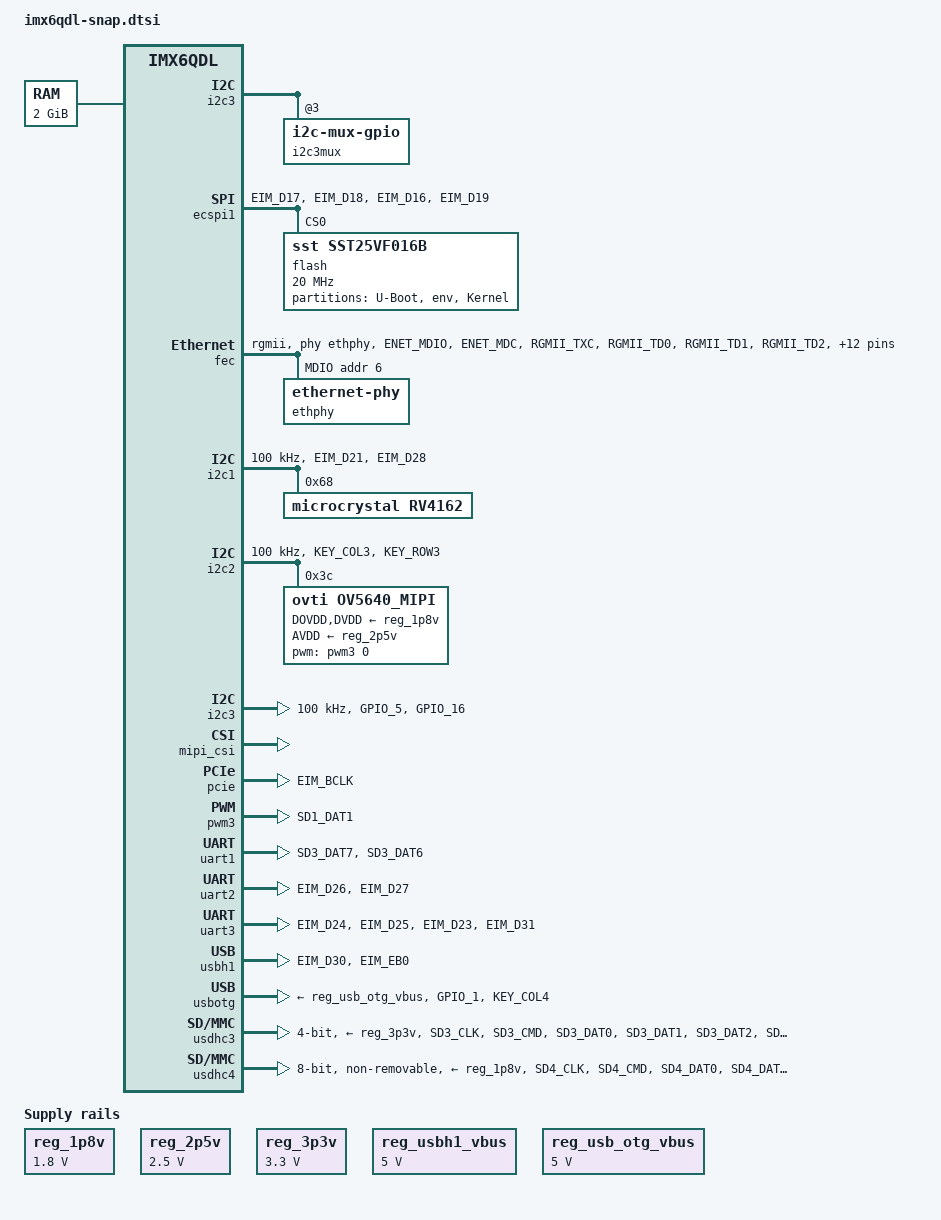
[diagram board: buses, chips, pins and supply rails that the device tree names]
/*
 * Copyright 2014 Boundary Devices
 * Copyright 2012 Freescale Semiconductor, Inc.
 * Copyright 2011 Linaro Ltd.
 *
 * The code contained herein is licensed under the GNU General Public
 * License. You may obtain a copy of the GNU General Public License
 * Version 2 or later at the following locations:
 *
 * http://www.opensource.org/licenses/gpl-license.html
 * http://www.gnu.org/copyleft/gpl.html
 */
#include <dt-bindings/gpio/gpio.h>
#include <dt-bindings/input/input.h>

/ {
	aliases {
		mmc0 = &usdhc3;
		mmc1 = &usdhc4;
	};

	gpio_keys: gpio-keys {
		compatible = "gpio-keys";
	};

	i2c3mux: i2cmux@3 {
		compatible = "i2c-mux-gpio";
	};

	memory {
		reg = <0x10000000 0x80000000>;
	};

	regulators {
		compatible = "simple-bus";

		reg_1p8v: 1p8v {
			compatible = "regulator-fixed";
			regulator-name = "1P8V";
			regulator-min-microvolt = <1800000>;
			regulator-max-microvolt = <1800000>;
			regulator-always-on;
		};

		reg_2p5v: 2p5v {
			compatible = "regulator-fixed";
			regulator-name = "2P5V";
			regulator-min-microvolt = <2500000>;
			regulator-max-microvolt = <2500000>;
			regulator-always-on;
		};

		reg_3p3v: 3p3v {
			compatible = "regulator-fixed";
			regulator-name = "3P3V";
			regulator-min-microvolt = <3300000>;
			regulator-max-microvolt = <3300000>;
			regulator-always-on;
		};

		reg_usbh1_vbus: usbh1_vbus {
			compatible = "regulator-fixed";
			regulator-name = "usbh1_vbus";
			regulator-min-microvolt = <5000000>;
			regulator-max-microvolt = <5000000>;
		};

		reg_usb_otg_vbus: usb_otg_vbus {
			compatible = "regulator-fixed";
			regulator-name = "usb_otg_vbus";
			regulator-min-microvolt = <5000000>;
			regulator-max-microvolt = <5000000>;
		};
	};

	v4l2_cap_0 {
		compatible = "fsl,imx6q-v4l2-capture";
		ipu_id = <0>;
		csi_id = <0>;
		mipi_camera = <1>;
		mclk_source = <0>;
		status = "okay";
	};
};

&iomuxc {
	pinctrl-names = "default";
	pinctrl-0 = <&pinctrl_hog_1>;
        iomuxc_imx6q_snap: iomuxc-imx6q-snapgrp {
                status = "okay";
        };
};

&iomuxc_imx6q_snap {
	pinctrl_hog_1: hoggrp {
		fsl,pins = <
			MX6QDL_PAD_SD2_DAT0__GPIO1_IO15		0x1b0b0
			MX6QDL_PAD_SD2_DAT1__GPIO1_IO14		0x1b0b0
			MX6QDL_PAD_SD2_DAT2__GPIO1_IO13		0x1b0b0
			MX6QDL_PAD_SD2_DAT3__GPIO1_IO12		0x1b0b0
			MX6QDL_PAD_SD2_CMD__GPIO1_IO11		0x1b0b0
			MX6QDL_PAD_SD1_CMD__GPIO1_IO18		0x1b0b0

			/* spares on DB */
			MX6QDL_PAD_DISP0_DAT0__GPIO4_IO21	0x1b0b0
			MX6QDL_PAD_DISP0_DAT1__GPIO4_IO22	0x1b0b0
			MX6QDL_PAD_DISP0_DAT2__GPIO4_IO23	0x1b0b0
			MX6QDL_PAD_DISP0_DAT3__GPIO4_IO24	0x1b0b0
			MX6QDL_PAD_DISP0_DAT4__GPIO4_IO25	0x1b0b0
			MX6QDL_PAD_DISP0_DAT5__GPIO4_IO26	0x1b0b0
			MX6QDL_PAD_GPIO_19__GPIO4_IO05		0x1b0b0
			MX6QDL_PAD_GPIO_0__GPIO1_IO00		0x1b0b0
			MX6QDL_PAD_SD1_CLK__GPIO1_IO20		0x1b0b0
			MX6QDL_PAD_SD2_CLK__GPIO1_IO10		0x1b0b0
			MX6QDL_PAD_SD1_DAT3__GPIO1_IO21		0x1b0b0
		>;
	};

	pinctrl_ecspi1: ecspi1grp {
		fsl,pins = <
			MX6QDL_PAD_EIM_D17__ECSPI1_MISO		0x100b1
			MX6QDL_PAD_EIM_D18__ECSPI1_MOSI		0x100b1
			MX6QDL_PAD_EIM_D16__ECSPI1_SCLK		0x100b1
#define GP_ECSPI1_NOR_CS		<&gpio3 19 GPIO_ACTIVE_LOW>
			MX6QDL_PAD_EIM_D19__GPIO3_IO19		0x000b1
		>;
	};

	pinctrl_enet: enetgrp {
		fsl,pins = <
			MX6QDL_PAD_ENET_MDIO__ENET_MDIO		0x1b0b0
			MX6QDL_PAD_ENET_MDC__ENET_MDC		0x1b0b0
			MX6QDL_PAD_RGMII_TXC__RGMII_TXC		0x100b0
			MX6QDL_PAD_RGMII_TD0__RGMII_TD0		0x100b0
			MX6QDL_PAD_RGMII_TD1__RGMII_TD1		0x100b0
			MX6QDL_PAD_RGMII_TD2__RGMII_TD2		0x100b0
			MX6QDL_PAD_RGMII_TD3__RGMII_TD3		0x100b0
			MX6QDL_PAD_RGMII_TX_CTL__RGMII_TX_CTL	0x100b0
			MX6QDL_PAD_ENET_REF_CLK__ENET_TX_CLK	0x100b0
			MX6QDL_PAD_RGMII_RXC__RGMII_RXC		0x1b0b0
			MX6QDL_PAD_RGMII_RD0__RGMII_RD0		0x1b0b0
			MX6QDL_PAD_RGMII_RD1__RGMII_RD1		0x1b0b0
			MX6QDL_PAD_RGMII_RD2__RGMII_RD2		0x1b0b0
			MX6QDL_PAD_RGMII_RD3__RGMII_RD3		0x1b0b0
			MX6QDL_PAD_RGMII_RX_CTL__RGMII_RX_CTL	0x1b0b0
#define GP_ENET_PHY_RESET		<&gpio1 27 GPIO_ACTIVE_LOW>
			MX6QDL_PAD_ENET_RXD0__GPIO1_IO27	0x030b0
#define GPIRQ_ENET_PHY			<&gpio1 28 IRQ_TYPE_LEVEL_LOW>
			MX6QDL_PAD_ENET_TX_EN__GPIO1_IO28	0x1b0b0
#define GPIRQ_ENET		<&gpio1 6 IRQ_TYPE_LEVEL_HIGH>
			MX6QDL_PAD_GPIO_6__ENET_IRQ		0x000b1
		>;
	};

	pinctrl_i2c1: i2c1grp {
		fsl,pins = <
			MX6QDL_PAD_EIM_D21__I2C1_SCL		0x4001b8b1
			MX6QDL_PAD_EIM_D28__I2C1_SDA		0x4001b8b1
		>;
	};

	pinctrl_i2c2: i2c2grp {
		fsl,pins = <
			MX6QDL_PAD_KEY_COL3__I2C2_SCL		0x4001b8b1
			MX6QDL_PAD_KEY_ROW3__I2C2_SDA		0x4001b8b1
		>;
	};

	pinctrl_i2c3: i2c3grp {
		fsl,pins = <
			MX6QDL_PAD_GPIO_5__I2C3_SCL		0x4001b8b1
			MX6QDL_PAD_GPIO_16__I2C3_SDA		0x4001b8b1
		>;
	};

	pinctrl_i2c3mux: i2c3muxgrp {
		fsl,pins = <
#define GP_I2C3_EN_SATA			<&gpio3 0 GPIO_ACTIVE_HIGH>
			MX6QDL_PAD_EIM_DA0__GPIO3_IO00		0x000b0
		>;
	};

	pinctrl_pcie: pciegrp {
		fsl,pins = <
#define GP_PCIE_RESET			<&gpio6 31 GPIO_ACTIVE_LOW>
			MX6QDL_PAD_EIM_BCLK__GPIO6_IO31		0x0b0b0
		>;
	};

	pinctrl_ov5640_mipi: ov5640_mipigrp {
		fsl,pins = <
#define GP_OV5640_MIPI_RESET		<&gpio6 5 GPIO_ACTIVE_LOW>
			MX6QDL_PAD_CSI0_DAT19__GPIO6_IO05	0x000b0
#define GP_OV5640_MIPI_POWER_DOWN	<&gpio6 4 GPIO_ACTIVE_LOW>
			MX6QDL_PAD_CSI0_DAT18__GPIO6_IO04	0x0b0b0
			MX6QDL_PAD_GPIO_3__CCM_CLKO2		0x000b0		/* XCLK */
		>;
	};

	pinctrl_pwm3: pwm3grp {
		fsl,pins = <
			MX6QDL_PAD_SD1_DAT1__PWM3_OUT		0x1b0b1
		>;
	};

	pinctrl_rv4162: rv4162grp {
		fsl,pins = <
#define GPIRQ_RTC_RV4162		<&gpio4 6 IRQ_TYPE_LEVEL_LOW>
			MX6QDL_PAD_KEY_COL0__GPIO4_IO06		0x1b0b0
		>;
	};

	pinctrl_sata: satagrp {
		fsl,pins = <
#define GP_HD_DETECT			<&gpio2 30 GPIO_ACTIVE_HIGH>
			MX6QDL_PAD_EIM_EB2__GPIO2_IO30		0x1b0b0
		>;
	};

	pinctrl_uart1: uart1grp {
		fsl,pins = <
			MX6QDL_PAD_SD3_DAT7__UART1_TX_DATA	0x1b0b1
			MX6QDL_PAD_SD3_DAT6__UART1_RX_DATA	0x1b0b1
		>;
	};

	pinctrl_uart2: uart2grp {
		fsl,pins = <
			MX6QDL_PAD_EIM_D26__UART2_TX_DATA	0x1b0b1
			MX6QDL_PAD_EIM_D27__UART2_RX_DATA	0x1b0b1
		>;
	};

	pinctrl_uart3: uart3grp {
		fsl,pins = <
			MX6QDL_PAD_EIM_D24__UART3_TX_DATA	0x0b0b1
			MX6QDL_PAD_EIM_D25__UART3_RX_DATA	0x1b0b1
			MX6QDL_PAD_EIM_D23__UART3_CTS_B		0x0b0b1
			MX6QDL_PAD_EIM_D31__UART3_RTS_B		0x1b0b1
		>;
	};

	pinctrl_usbh1: usbh1grp {
		fsl,pins = <
			MX6QDL_PAD_EIM_D30__USB_H1_OC		0x1b0b0
#define GP_USBH1_HUB_RESET	<&gpio2 28 GPIO_ACTIVE_LOW>
			MX6QDL_PAD_EIM_EB0__GPIO2_IO28          0x030b0
		>;
	};

	pinctrl_usbotg: usbotggrp {
		fsl,pins = <
			MX6QDL_PAD_GPIO_1__USB_OTG_ID		0x17059
			MX6QDL_PAD_KEY_COL4__USB_OTG_OC		0x1b0b0
		>;
	};

	pinctrl_usbotg_vbus: usbotg_vbusgrp {
		fsl,pins = <
#define GP_USB_OTG_PWR			<&gpio3 22 GPIO_ACTIVE_HIGH>
			MX6QDL_PAD_EIM_D22__GPIO3_IO22          0x030b0
		>;
	};

	pinctrl_usdhc3_50mhz: usdhc3_50mhzgrp {
		fsl,pins = <
			MX6QDL_PAD_SD3_CLK__SD3_CLK		0x10031
			MX6QDL_PAD_SD3_CMD__SD3_CMD		0x17031
			MX6QDL_PAD_SD3_DAT0__SD3_DATA0		0x17031
			MX6QDL_PAD_SD3_DAT1__SD3_DATA1		0x17031
			MX6QDL_PAD_SD3_DAT2__SD3_DATA2		0x17031
			MX6QDL_PAD_SD3_DAT3__SD3_DATA3		0x17031
#define GP_SD3_CD			<&gpio7 0 GPIO_ACTIVE_HIGH>
			MX6QDL_PAD_SD3_DAT5__GPIO7_IO00		0x1b0b0
		>;
	};

	pinctrl_usdhc4_50mhz: usdhc4_50mhzgrp {
		fsl,pins = <
			MX6QDL_PAD_SD4_CLK__SD4_CLK		0x10031
			MX6QDL_PAD_SD4_CMD__SD4_CMD		0x17031
			MX6QDL_PAD_SD4_DAT0__SD4_DATA0		0x17031
			MX6QDL_PAD_SD4_DAT1__SD4_DATA1		0x17031
			MX6QDL_PAD_SD4_DAT2__SD4_DATA2		0x17031
			MX6QDL_PAD_SD4_DAT3__SD4_DATA3		0x17031
			MX6QDL_PAD_SD4_DAT4__SD4_DATA4		0x17031
			MX6QDL_PAD_SD4_DAT5__SD4_DATA5		0x17031
			MX6QDL_PAD_SD4_DAT6__SD4_DATA6		0x17031
			MX6QDL_PAD_SD4_DAT7__SD4_DATA7		0x17031
#define GP_EMMC_RESET	<&gpio2 6 GPIO_ACTIVE_LOW>
			MX6QDL_PAD_NANDF_D6__GPIO2_IO06		0x1b0b0
		>;
	};
};

&ecspi1 {
	fsl,spi-num-chipselects = <1>;
	cs-gpios = GP_ECSPI1_NOR_CS;
	pinctrl-names = "default";
	pinctrl-0 = <&pinctrl_ecspi1>;
	status = "okay";

	flash: m25p80@0 {
		compatible = "sst,sst25vf016b";
		spi-max-frequency = <20000000>;
		reg = <0>;
		#address-cells = <1>;
		#size-cells = <1>;
		partition@0 {
			label = "U-Boot";
			reg = <0x0 0xC0000>;
			read-only;
		};
		partition@C0000 {
			label = "env";
			reg = <0xC0000 0x2000>;
			read-only;
		};
		partition@C2000 {
			label = "Kernel";
			reg = <0xC2000 0x13e000>;
		};
	};
};

&fec {
	interrupts-extended = GPIRQ_ENET,
			      <&gpc 0 119 IRQ_TYPE_LEVEL_HIGH>;
	phy-handle = <&ethphy>;
	phy-mode = "rgmii";
#if 0
	phy-reset-gpios = GP_ENET_PHY_RESET;
#endif
	pinctrl-names = "default";
	pinctrl-0 = <&pinctrl_enet>;
	status = "okay";

	mdio {
		#address-cells = <0>;
		#size-cells = <1>;

		ethphy: ethernet-phy@6 {
			reg = <6>;
			interrupts-extended = GPIRQ_ENET_PHY;
		};
	};
};

&i2c1 {
	clock-frequency = <100000>;
	pinctrl-names = "default";
	pinctrl-0 = <&pinctrl_i2c1>;
	status = "okay";

	rv4162@68 {
		compatible = "microcrystal,rv4162";
		pinctrl-names = "default";
		pinctrl-0 = <&pinctrl_rv4162>;
		reg = <0x68>;
		interrupts-extended = GPIRQ_RTC_RV4162;
	};
};

&i2c2 {
	clock-frequency = <100000>;
	pinctrl-names = "default";
	pinctrl-0 = <&pinctrl_i2c2>;
	status = "okay";

	ov5640_mipi: ov5640_mipi@3c {
		compatible = "ovti,ov5640_mipi";
		reg = <0x3c>;
		pinctrl-names = "default";
		pinctrl-0 = <&pinctrl_ov5640_mipi>;
		clocks = <&clks IMX6QDL_CLK_CKO2>;
		clock-names = "csi_mclk";
		DOVDD-supply = <&reg_1p8v>;
		AVDD-supply = <&reg_2p5v>;
		DVDD-supply = <&reg_1p8v>;
		pwn-gpios = GP_OV5640_MIPI_POWER_DOWN;
		rst-gpios = GP_OV5640_MIPI_RESET;
		ipu_id = <0>;
		csi_id = <0>;
		mclk = <22000000>;
		mclk_source = <0>;
		pwms = <&pwm3 0 45>;
	};
};

&i2c3 {
        clock-frequency = <100000>;
        pinctrl-names = "default";
        pinctrl-0 = <&pinctrl_i2c3>;
        status = "okay";

};

&i2c3mux {
	pinctrl-names = "default";
	pinctrl-0 = <&pinctrl_i2c3mux>;
	#address-cells = <1>;
	#size-cells = <0>;

	mux-gpios = GP_I2C3_EN_SATA;

	i2c-parent = <&i2c3>;
	idle-state = <0>;

	i2c3a: i2c3@1 {
		reg = <1>;
		#address-cells = <1>;
		#size-cells = <0>;
	};
};

&mipi_csi {
	ipu_id = <0>;
	csi_id = <1>;
	v_channel = <0>;
	lanes = <2>;
	status = "okay";
};

&pcie {
	pinctrl-names = "default";
	pinctrl-0 = <&pinctrl_pcie>;
	reset-gpios = GP_PCIE_RESET;
	status = "okay";
};

&pwm3 {
	pinctrl-names = "default";
	pinctrl-0 = <&pinctrl_pwm3>;
	status = "okay";
};

&reg_usb_otg_vbus {
	pinctrl-names = "default";
	pinctrl-0 = <&pinctrl_usbotg_vbus>;
	gpio = GP_USB_OTG_PWR;
	enable-active-high;
};

&uart1 {
	pinctrl-names = "default";
	pinctrl-0 = <&pinctrl_uart1>;
	status = "okay";
};

&uart2 {
	pinctrl-names = "default";
	pinctrl-0 = <&pinctrl_uart2>;
	status = "okay";
};

&uart3 {
	pinctrl-names = "default";
	pinctrl-0 = <&pinctrl_uart3>;
	fsl,uart-has-rtscts;
	status = "okay";
};

&usbh1 {
	pinctrl-names = "default";
	pinctrl-0 = <&pinctrl_usbh1>;
	disable-over-current;
	reset-gpios = GP_USBH1_HUB_RESET;
	status = "okay";
};

&usbotg {
	vbus-supply = <&reg_usb_otg_vbus>;
	pinctrl-names = "default";
	pinctrl-0 = <&pinctrl_usbotg>;
	disable-over-current;
	status = "okay";
};

&usdhc3 {
	pinctrl-names = "default";
	pinctrl-0 = <&pinctrl_usdhc3_50mhz>;
	bus-width = <4>;
	cd-gpios = GP_SD3_CD;
	vmmc-supply = <&reg_3p3v>;
	status = "okay";
};

&usdhc4 {
	pinctrl-names = "default";
	pinctrl-0 = <&pinctrl_usdhc4_50mhz>;
	bus-width = <8>;
	non-removable;
	vqmmc-1-8-v;
	vmmc-supply = <&reg_1p8v>;
	keep-power-in-suspend;
	status = "okay";
};
